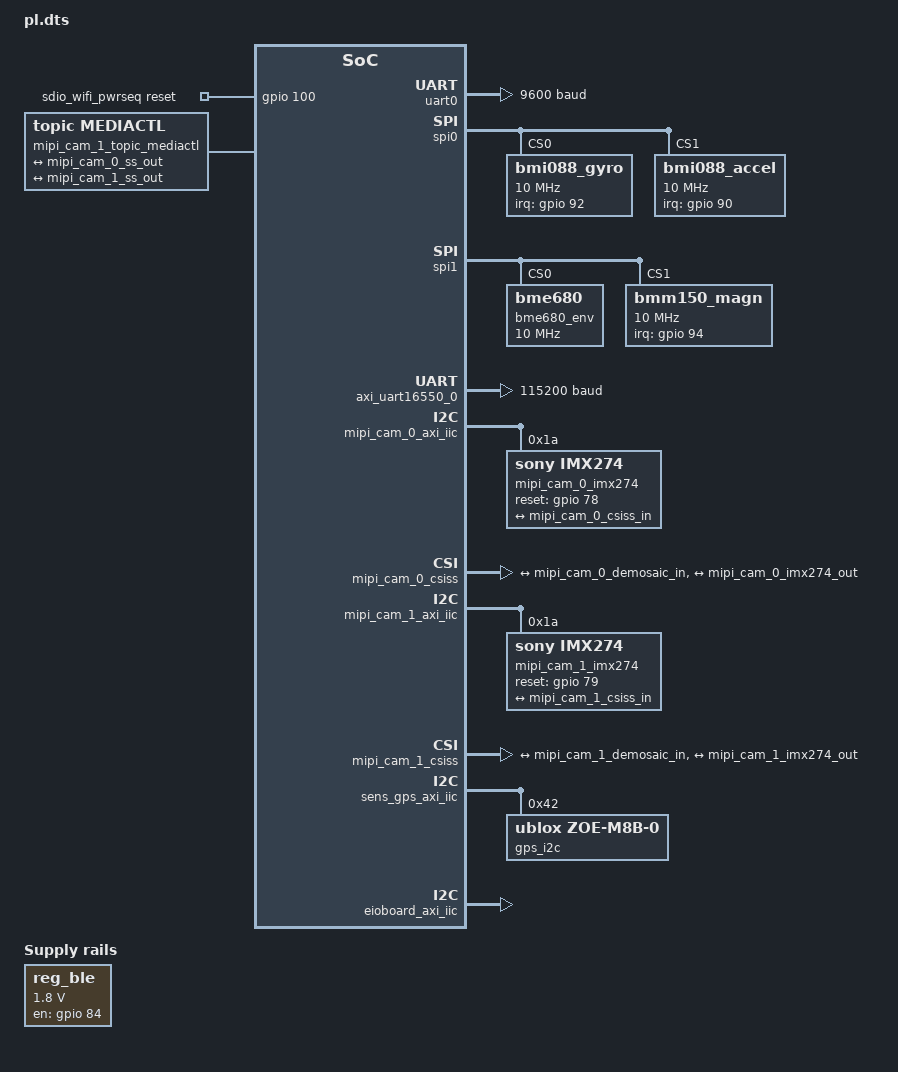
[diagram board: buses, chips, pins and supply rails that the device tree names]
/*
 * dts overlay file for XDP (Xilinx Drone Platform) board
 *
 * (C) Copyright 2019, Topic Embedded Products BV
 *
 * This program is free software; you can redistribute it and/or
 * modify it under the terms of the GNU General Public License as
 * published by the Free Software Foundation; either version 2 of
 * the License, or (at your option) any later version.
 */
/dts-v1/;
/plugin/;

#include <dt-bindings/input/input.h>
#include <dt-bindings/gpio/gpio.h>
#include <dt-bindings/interrupt-controller/irq.h>
#include <dt-bindings/phy/phy.h>
#include <dt-bindings/clock/xlnx-zynqmp-clk.h>
#include <dt-bindings/media/xilinx-vip.h>

/ {
	/* This fragment causes the FPGA image to load */
	fragment@0 {
		target = <&fpga_full>;
		__overlay__ {
			firmware-name = "fpga.bin.fpga-image-xdp-reference";
		};
	};

	/* root */
	fragment@1 {
		target-path = "/";
		__overlay__ {

			qmfoc {
				compatible = "qdesys,qmfoc-1.00.a";
			};	

			sdio_wifi_pwrseq: sdio_wifi_pwrseq {
				compatible = "mmc-pwrseq-simple";
				reset-gpios = <&gpio 100 GPIO_ACTIVE_HIGH>; /* EMIO 22 = WIFI_ENABLE */
				post-power-on-delay-ms = <1>; /* 100 us according to datasheet */
			};

			/* Enable for Bluetooth */
			reg_ble: regulator_ble {
				compatible = "regulator-fixed";
				regulator-name = "pwr-ble";
				regulator-min-microvolt = <1800000>;
				regulator-max-microvolt = <1800000>;
				enable-active-high;
				gpio = <&gpio 84 0>; /* EMIO 6 */
				startup-delay-us = <100>;
				/* No power control (yet), just turn it on please */
				regulator-boot-on;
				regulator-always-on;
			};

			/* VCU clock */
			misc_clk_5: misc_clk_5 {
				#clock-cells = <0>;
				clock-frequency = <33002765>;
				compatible = "fixed-clock";
			};
		};
	};

	/* uart0 for EMIO (GPS module) */
	fragment@2 {
		target = <&uart0>;
		__overlay__ {
			status = "okay";
			current-speed = <9600>; /* GPS module */
		};
	};

	fragment@3 {
		target = <&spi0>;
		__overlay__ {
			status = "okay";
			num-cs = <2>;

			/* Gyro Sensor */
			bmi088_gyro: bmi088_gyro@0 {
				compatible = "bmi088_gyro";
				reg = <0>;
				spi-max-frequency = <10000000>;
				interrupt-parent = <&gpio>;
				interrupts = <92 IRQ_TYPE_EDGE_RISING>; /* INT0 at EMIO 14, INT1 is at 15 */
			};


			/* Accelero sensor */
			bmi088_accel: bmi088_accel@1 {
				compatible = "bmi088_accel";
				reg = <1>;
				spi-max-frequency = <10000000>;
				interrupt-parent = <&gpio>;
				interrupts = <90 IRQ_TYPE_EDGE_RISING>; /* INT0 at EMIO 12, INT1 is at 13 */
			};
		};
	};

	fragment@4 {
		target = <&spi1>;
		__overlay__ {
			status = "okay";
			num-cs = <2>;

			/* Environmental Sensor */
			bme680_env: bme680_env@0 {
				compatible = "bme680";
				reg = <0>;
				spi-max-frequency = <10000000>;
			};

			/* Magneto Sensor */
			bmm150_magn: bmm150_magn@1 {
				compatible = "bmm150_magn";
				reg = <1>;
				spi-max-frequency = <10000000>;
				interrupt-parent = <&gpio>;
				interrupts = <94 IRQ_TYPE_EDGE_RISING>; /* DRDY at EMIO 16, INT is at 17 */
			};
		};
	};

	/* FPGA AXI memory map */
	fragment@5 {
		target = <&amba>;
		__overlay__ {

			/* Faster video clock */
			misc_clk_6: misc_clk_6 {
				#clock-cells = <0>;
				clock-frequency = <333027650>;
				compatible = "fixed-clock";
			};

			/* FAN controller */
			pl_fan_controller: fan-controller@a0012000 {
				compatible = "topic,axi-pwm-fan-controller";
				reg = <0x0 0xa0012000 0x0 0x1000>;
				nr-fans = <1>;
				clocks = <&zynqmp_clk PL0_REF>;
				topic,initial-pwm = <0x80>; /* Run at 50% */
			};

			/* UART 16550 controller for BT */
			axi_uart16550_0: serial@a0010000 {
				clock-names = "ref_clk";
				clocks = <&zynqmp_clk PL0_REF>;
				compatible = "xlnx,xps-uart16550-2.00.a", "ns16550a";
				current-speed = <115200>;
				device_type = "serial";
				interrupt-parent = <&gic>;
				interrupts = <0 89 4>; /* pl_ps_0[0] */
				reg = <0x0 0xA0010000 0x0 0x2000>;
				reg-offset = <0x1000>;
				reg-shift = <2>;
				/* These properties aren't actually used anywhere by the driver */
				xlnx,use-modem-ports = <0x1>;
				xlnx,use-user-ports = <0x1>;
			};

			/* MIPI Camera 0 */
			mipi_cam_0_axi_iic: i2c@a0130000 {
				#address-cells = <1>;
				#size-cells = <0>;
				clock-names = "s_axi_aclk";
				clocks = <&zynqmp_clk PL0_REF>;
				compatible = "xlnx,axi-iic-2.0", "xlnx,xps-iic-2.00.a";
				interrupt-names = "iic2intc_irpt";
				interrupt-parent = <&gic>;
				interrupts = <0 92 4>; 
				reg = <0x0 0xa0130000 0x0 0x10000>;

				mipi_cam_0_imx274: sensor@1a{
					compatible = "sony,imx274";
					reg = <0x1a>;
					#address-cells = <1>;
					#size-cells = <0>;
					reset-gpios = <&gpio 78 GPIO_ACTIVE_HIGH>;

					port@0 {
						reg = <0>;

						mipi_cam_0_imx274_out: endpoint {
							remote-endpoint = <&mipi_cam_0_csiss_in>;
							clock-lanes = <0>;
							data-lanes = <1 2 3 4>;
						};
					};
				}; 
			};

			mipi_cam_0_csiss: csiss@a00f0000 {
				clock-names = "lite_aclk", "dphy_clk_200M", "video_aclk";
				clocks = <&zynqmp_clk PL0_REF>, <&si5341 0 6>, <&misc_clk_6>; 
				 
				compatible = "xlnx,mipi-csi2-rx-subsystem-4.1", "xlnx,mipi-csi2-rx-subsystem-4.0";
				interrupt-names = "csirxss_csi_irq";
				interrupt-parent = <&gic>;
				interrupts = <0 91 4>;
				reg = <0x0 0xa00f0000 0x0 0x10000>;
				xlnx,axis-tdata-width = <32>;
				xlnx,cal-mode = "NONE";
				xlnx,clk-io-swap = "false";
				xlnx,clk-lane-io-position = <0x1a>;
				xlnx,clk-lp-io-swap = "false";
				xlnx,csi-en-activelanes = "true";
				xlnx,csi-en-crc = "true";
				xlnx,csi-filter-userdatatype = "true";
				xlnx,csi-opt1-regs = "false";
				xlnx,csi-pxl-format = "RAW10";
				xlnx,csi2rx-dbg = <0x0>;
				xlnx,data-lane0-io-position = <0x2>;
				xlnx,data-lane1-io-position = <0x4>;
				xlnx,data-lane2-io-position = <0x6>;
				xlnx,data-lane3-io-position = <0x8>;
				xlnx,dl0-io-swap = "false";
				xlnx,dl0-lp-io-swap = "false";
				xlnx,dl1-io-swap = "false";
				xlnx,dl1-lp-io-swap = "false";
				xlnx,dl2-io-swap = "false";
				xlnx,dl2-lp-io-swap = "false";
				xlnx,dl3-io-swap = "false";
				xlnx,dl3-lp-io-swap = "false";
				xlnx,dphy-lanes = <0x4>;
				xlnx,dphy-mode = "SLAVE";
				xlnx,en-active-lanes ;
				xlnx,en-bg0-pin0 = "false";
				xlnx,en-bg0-pin6 = "false";
				xlnx,en-bg1-pin0 = "false";
				xlnx,en-bg1-pin6 = "false";
				xlnx,en-bg2-pin0 = "false";
				xlnx,en-bg2-pin6 = "false";
				xlnx,en-bg3-pin0 = "false";
				xlnx,en-bg3-pin6 = "false";
				xlnx,en-clk300m = "false";
				xlnx,en-csi-v2-0 = "false";
				xlnx,en-exdesigns = "false";
				xlnx,en-timeout-regs = "false";
				xlnx,en-vcx = "false";
				xlnx,esc-timeout = <0x6400>;
				xlnx,fifo-rd-en-control = "true";
				xlnx,hs-line-rate = <0x5a0>;
				xlnx,hs-settle-ns = <0x8d>;
				xlnx,hs-timeout = <0x10005>;
				xlnx,idly-group-name = "mipi_csi2rx_idly_group";
				xlnx,idly-tap = <0x1>;
				xlnx,init = <0x186a0>;
				xlnx,is-7series = "false";
				xlnx,max-lanes = <0x4>;
				xlnx,mipi-slv-int = <0x0>;
				xlnx,ppc = <0x2>;
				xlnx,share-idlyctrl = "false";
				xlnx,vc = <0x4>;
				xlnx,vfb ;

				ports {
					#address-cells = <1>;
					#size-cells = <0>;
					
					port@0 {
						reg = <0>;
						xlnx,cfa-pattern = "rggb";
						xlnx,video-format = <XVIP_VF_MONO_SENSOR>;
						xlnx,video-width = <8>;

						mipi_cam_0_csiss_out: endpoint {
							remote-endpoint = <&mipi_cam_0_demosaic_in>;
						};
					};
					port@1 {
						reg = <1>;
						xlnx,cfa-pattern = "rggb";
						xlnx,video-format = <XVIP_VF_MONO_SENSOR>;
						xlnx,video-width = <8>;

						mipi_cam_0_csiss_in: endpoint {
							remote-endpoint = <&mipi_cam_0_imx274_out>;
							data-lanes = <1 2 3 4>;
						};
					};
				}; 
			};

			mipi_cam_0_demosaic: demosaic@a0140000 {
				compatible = "xlnx,v-demosaic-1.0", "xlnx,v-demosaic";
				reg = <0x0 0xa0140000 0x0 0x10000>;
				clock-names = "ap_clk";
				clocks = <&misc_clk_6>;
				interrupt-names = "interrupt";
				interrupt-parent = <&gic>;
				interrupts = <0 107 4>;
				reset-gpios = <&gpio 104 GPIO_ACTIVE_LOW>; 
				xlnx,max-height = <2160>;
				xlnx,max-width = <3840>;
				xlnx,s-axi-ctrl-addr-width = <6>;
				xlnx,s-axi-ctrl-data-width = <32>;

				assigned-clocks        = <&si5341 1 0>, <&si5341 0 6>;
				assigned-clock-parents = <0>,           <&si5341 1 0>;
				assigned-clock-rates   = <400000000>,   <200000000>;

				ports {
					#address-cells = <1>;
					#size-cells = <0>;

					port@0 {
						reg = <0>;
						
						xlnx,cfa-pattern = "rggb";
						xlnx,video-width = <8>;

						mipi_cam_0_demosaic_in: endpoint {
							remote-endpoint = <&mipi_cam_0_csiss_out>;
						};
					};

					
					port@1 {
						reg = <1>;
						xlnx,cfa-pattern = "rggb";
						xlnx,video-width = <8>;

						mipi_cam_0_demosaic_out: endpoint {
							remote-endpoint = <&mipi_cam_0_ss_in>;
						};
					};
				};
			};

			mipi_cam_0_ss: v_proc_ss_csc@a0100000 {
				#dma-cells = <1>;
				compatible = "xlnx,v-vpss-csc";
				clock-names = "aclk";
				clocks = <&misc_clk_6>;				
				reg = <0x0 0xa0100000 0x0 0x10000>;
				reset-gpios = <&gpio 108 GPIO_ACTIVE_LOW>; 
				xlnx,colorspace-support = <0x0>;
				xlnx,csc-enable-window = "false";
				xlnx,max-height = <0x870>;
				xlnx,max-width = <0xf00>;
				xlnx,num-video-components = <0x3>;
				xlnx,samples-per-clk = <0x2>;
				xlnx,topology = <0x3>;
				xlnx,use-uram = <0x0>;
				xlnx,video-width = <0x8>;

				ports {
					#address-cells = <0x1>;
					#size-cells = <0x0>;

					port@0 {
						reg = <0x0>;
						xlnx,video-format = <XVIP_VF_RBG>;
						xlnx,video-width = <0x8>;

						mipi_cam_0_ss_in: endpoint {
							remote-endpoint = <&mipi_cam_0_demosaic_out>;
						};
					};
					
					port@1 {
						reg = <0x1>;
						xlnx,video-format = <XVIP_VF_RBG>;
						xlnx,video-width = <0x8>;

						mipi_cam_0_ss_out: endpoint {
							remote-endpoint = <&mipi_cam_0_topic_mediactl_in>;
						};
					};
				};
			};

			/* MIPI Camera 1 */
			mipi_cam_1_axi_iic: i2c@a01b0000 {
				#address-cells = <1>;
				#size-cells = <0>;
				clock-names = "s_axi_aclk";
				clocks = <&zynqmp_clk PL0_REF>;
				compatible = "xlnx,axi-iic-2.0", "xlnx,xps-iic-2.00.a";
				interrupt-names = "iic2intc_irpt";
				interrupt-parent = <&gic>;
				interrupts = <0 95 4>; 
				reg = <0x0 0xa01b0000 0x0 0x10000>;

				mipi_cam_1_imx274: sensor@1a{
					compatible = "sony,imx274";
					reg = <0x1a>;
					#address-cells = <1>;
					#size-cells = <0>;
					reset-gpios = <&gpio 79 GPIO_ACTIVE_HIGH>;

					port@0 {
						reg = <0>;

						mipi_cam_1_imx274_out: endpoint {
							remote-endpoint = <&mipi_cam_1_csiss_in>;
							clock-lanes = <0>;
							data-lanes = <1 2 3 4>;
						};
					};
				}; 
			};

			mipi_cam_1_csiss: csiss@a0180000 {
				clock-names = "lite_aclk", "dphy_clk_200M", "video_aclk";
				clocks = <&zynqmp_clk PL0_REF>, <&si5341 0 6>, <&misc_clk_6>; 
				 
				compatible = "xlnx,mipi-csi2-rx-subsystem-4.1", "xlnx,mipi-csi2-rx-subsystem-4.0";
				interrupt-names = "csirxss_csi_irq";
				interrupt-parent = <&gic>;
				interrupts = <0 94 4>;
				reg = <0x0 0xa0180000 0x0 0x10000>;
				xlnx,axis-tdata-width = <32>;
				xlnx,cal-mode = "NONE";
				xlnx,clk-io-swap = "false";
				xlnx,clk-lane-io-position = <0x1a>;
				xlnx,clk-lp-io-swap = "false";
				xlnx,csi-en-activelanes = "true";
				xlnx,csi-en-crc = "true";
				xlnx,csi-filter-userdatatype = "true";
				xlnx,csi-opt1-regs = "false";
				xlnx,csi-pxl-format = "RAW10";
				xlnx,csi2rx-dbg = <0x0>;
				xlnx,data-lane0-io-position = <0x2>;
				xlnx,data-lane1-io-position = <0x4>;
				xlnx,data-lane2-io-position = <0x6>;
				xlnx,data-lane3-io-position = <0x8>;
				xlnx,dl0-io-swap = "false";
				xlnx,dl0-lp-io-swap = "false";
				xlnx,dl1-io-swap = "false";
				xlnx,dl1-lp-io-swap = "false";
				xlnx,dl2-io-swap = "false";
				xlnx,dl2-lp-io-swap = "false";
				xlnx,dl3-io-swap = "false";
				xlnx,dl3-lp-io-swap = "false";
				xlnx,dphy-lanes = <0x4>;
				xlnx,dphy-mode = "SLAVE";
				xlnx,en-active-lanes ;
				xlnx,en-bg0-pin0 = "false";
				xlnx,en-bg0-pin6 = "false";
				xlnx,en-bg1-pin0 = "false";
				xlnx,en-bg1-pin6 = "false";
				xlnx,en-bg2-pin0 = "false";
				xlnx,en-bg2-pin6 = "false";
				xlnx,en-bg3-pin0 = "false";
				xlnx,en-bg3-pin6 = "false";
				xlnx,en-clk300m = "false";
				xlnx,en-csi-v2-0 = "false";
				xlnx,en-exdesigns = "false";
				xlnx,en-timeout-regs = "false";
				xlnx,en-vcx = "false";
				xlnx,esc-timeout = <0x6400>;
				xlnx,fifo-rd-en-control = "true";
				xlnx,hs-line-rate = <0x5a0>;
				xlnx,hs-settle-ns = <0x8d>;
				xlnx,hs-timeout = <0x10005>;
				xlnx,idly-group-name = "mipi_csi2rx_idly_group";
				xlnx,idly-tap = <0x1>;
				xlnx,init = <0x186a0>;
				xlnx,is-7series = "false";
				xlnx,max-lanes = <0x4>;
				xlnx,mipi-slv-int = <0x0>;
				xlnx,ppc = <0x2>;
				xlnx,share-idlyctrl = "false";
				xlnx,vc = <0x4>;
				xlnx,vfb ;

				ports {
					#address-cells = <1>;
					#size-cells = <0>;
					
					port@0 {
						reg = <0>;
						xlnx,cfa-pattern = "rggb";
						xlnx,video-format = <XVIP_VF_MONO_SENSOR>;
						xlnx,video-width = <8>;

						mipi_cam_1_csiss_out: endpoint {
							remote-endpoint = <&mipi_cam_1_demosaic_in>;
						};
					};
					port@1 {
						reg = <1>;
						xlnx,cfa-pattern = "rggb";
						xlnx,video-format = <XVIP_VF_MONO_SENSOR>;
						xlnx,video-width = <8>;

						mipi_cam_1_csiss_in: endpoint {
							remote-endpoint = <&mipi_cam_1_imx274_out>;
							data-lanes = <1 2 3 4>;
						};
					};
				}; 
			};

			mipi_cam_1_demosaic: demosaic@a01c0000 {
				compatible = "xlnx,v-demosaic-1.0", "xlnx,v-demosaic";
				reg = <0x0 0xa01c0000 0x0 0x10000>;
				clock-names = "ap_clk";
				clocks = <&misc_clk_6>;
				interrupt-names = "interrupt";
				interrupt-parent = <&gic>;
				interrupts = <0 108 4>;
				reset-gpios = <&gpio 105 GPIO_ACTIVE_LOW>; 
				xlnx,max-height = <2160>;
				xlnx,max-width = <3840>;
				xlnx,s-axi-ctrl-addr-width = <6>;
				xlnx,s-axi-ctrl-data-width = <32>;

				assigned-clocks        = <&si5341 1 0>, <&si5341 0 6>;
				assigned-clock-parents = <0>,           <&si5341 1 0>;
				assigned-clock-rates   = <400000000>,   <200000000>;

				ports {
					#address-cells = <1>;
					#size-cells = <0>;

					port@0 {
						reg = <0>;
						
						xlnx,cfa-pattern = "rggb";
						xlnx,video-width = <8>;

						mipi_cam_1_demosaic_in: endpoint {
							remote-endpoint = <&mipi_cam_1_csiss_out>;
						};
					};

					
					port@1 {
						reg = <1>;
						xlnx,cfa-pattern = "rggb";
						xlnx,video-width = <8>;

						mipi_cam_1_demosaic_out: endpoint {
							remote-endpoint = <&mipi_cam_1_ss_in>;
						};
					};
				};
			};

			mipi_cam_1_ss: v_proc_ss_csc@a0040000 {
				clock-names = "aclk";
				clocks = <&misc_clk_6>;
				compatible = "xlnx,v-vpss-csc";
				reg = <0x0 0xa0040000 0x0 0x10000>;
				reset-gpios = <&gpio 109 GPIO_ACTIVE_LOW>; 
				xlnx,colorspace-support = <0x0>;
				xlnx,csc-enable-window = "false";
				xlnx,max-height = <0x870>;
				xlnx,max-width = <0xf00>;
				xlnx,num-video-components = <0x3>;
				xlnx,samples-per-clk = <0x2>;
				xlnx,topology = <0x3>;
				xlnx,use-uram = <0x0>;
				xlnx,video-width = <0x8>;

				ports {
					#address-cells = <0x1>;
					#size-cells = <0x0>;

					port@0 {
						reg = <0x0>;
						xlnx,video-format = <XVIP_VF_RBG>;
						xlnx,video-width = <0x8>;

						mipi_cam_1_ss_in: endpoint {
							remote-endpoint = <&mipi_cam_1_demosaic_out>;
						};
					};

					port@1 {
						reg = <0x1>;
						xlnx,video-format = <XVIP_VF_RBG>;
						xlnx,video-width = <0x8>;

						mipi_cam_1_ss_out: endpoint {
							remote-endpoint = <&mipi_cam_1_topic_mediactl_in>;
						};
					};
				};
			};

			mipi_cam_1_topic_mediactl: topic_mediactl@1 {
				compatible = "topic,mediactl";	
				ports {
					
					port@0 {
						reg = <0x0>;
						xlnx,video-format = <XVIP_VF_RBG>;
						xlnx,video-width = <0x8>;

						mipi_cam_0_topic_mediactl_in: endpoint {
							remote-endpoint = <&mipi_cam_0_ss_out>;
						};
					};

					port@1 {
						reg = <0x0>;
						xlnx,video-format = <XVIP_VF_RBG>;
						xlnx,video-width = <0x8>;

						mipi_cam_1_topic_mediactl_in: endpoint {
							remote-endpoint = <&mipi_cam_1_ss_out>;
						};
					};
				};			
			};

			/* VCU */
			vcu_0: vcu@a0240000 {
				#address-cells = <2>;
				#clock-cells = <1>;
				#size-cells = <2>;
				clock-names = "pll_ref", "aclk", "vcu_core_enc", "vcu_core_dec", "vcu_mcu_enc", "vcu_mcu_dec";
				clocks = <&misc_clk_5>, <&zynqmp_clk PL0_REF>, <&vcu_0 1>, <&vcu_0 2>, <&vcu_0 3>, <&vcu_0 4>;
				compatible = "xlnx,vcu-1.2", "xlnx,vcu";
				interrupt-names = "vcu_host_interrupt";
				interrupt-parent = <&gic>;
				interrupts = <0 105 4>;
				ranges ;
				reg = <0x0 0xa0240000 0x0 0x1000>, <0x0 0xa0241000 0x0 0x1000>;
				reg-names = "vcu_slcr", "logicore";
				reset-gpios = <&gpio 106 GPIO_ACTIVE_HIGH>; /* EMIO 28, actually active low but VCU driver inverts it */
				encoder: al5e@a0200000 {
					compatible = "al,al5e-1.2", "al,al5e";
					interrupt-parent = <&gic>;
					interrupts = <0 105 4>;
					reg = <0x0 0xa0200000 0x0 0x10000>;
				};
				decoder: al5d@a0220000 {
					compatible = "al,al5d-1.2", "al,al5d";
					interrupt-parent = <&gic>;
					interrupts = <0 105 4>;
					reg = <0x0 0xa0220000 0x0 0x10000>;
				};
			};

			/* GPS IIC */
			sens_gps_axi_iic: i2c@a000d000 {
				#address-cells = <1>;
				#size-cells = <0>;
				compatible = "xlnx,xps-iic-2.00.a";
				interrupt-parent = <&gic>;
				interrupts = <0 106 IRQ_TYPE_LEVEL_HIGH>; /* pl_ps_1[2] */
				reg = <0x0 0xa000d000 0x0 0x1000>;
				clocks = <&zynqmp_clk PL0_REF>;
				gps_i2c: gps@42 {
					reg = <0x42>;
					compatible = "ublox,zoe-m8b-0"; /* No actual driver */
				};
			};

			/* EIO board */
			eioboard_axi_iic: i2c@a0004000 {
				#address-cells = <1>;
				#size-cells = <0>;
				compatible = "xlnx,xps-iic-2.00.a";
				interrupt-parent = <&gic>;
				interrupts = <0 90 IRQ_TYPE_LEVEL_HIGH>; /* pl_ps_0[1] */
				reg = <0x0 0xa0004000 0x0 0x1000>;
				clocks = <&zynqmp_clk PL0_REF>;
			};

			dyplo: dyplo@a0400000 {
				compatible = "topic,dyplo-1.00.a";
				reg = <0x0 0xA0400000 0x0 0x200000>;
				interrupt-parent = <&gic>;
				interrupts = <0 111 4>; /* pl_ps_irq1[7] */
				dma-coherent; /* Using HPC port */
				nvmem-cells = <&dyplolicense>;
				nvmem-cell-names = "license";
			};
		};
	};
};
